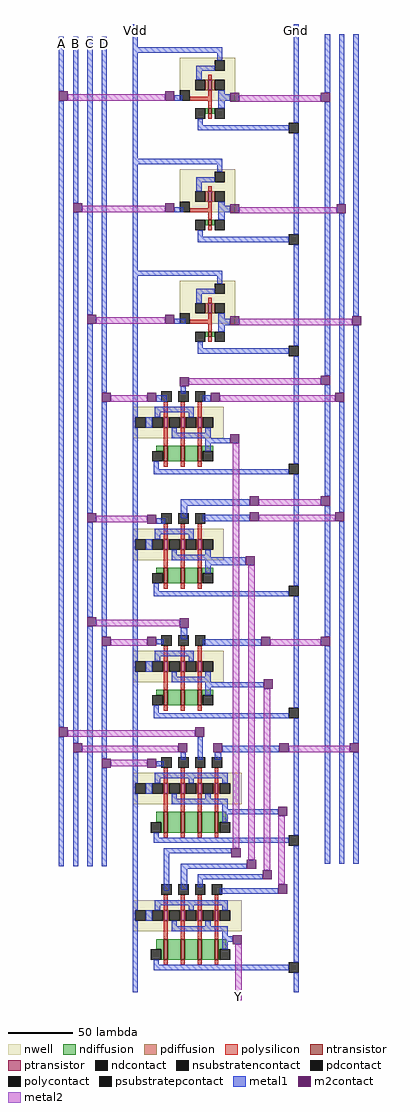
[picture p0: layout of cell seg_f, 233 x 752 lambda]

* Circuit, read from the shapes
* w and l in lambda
.subckt seg_f A B C D Gnd Vdd Y
M1 n1 n2 Gnd Gnd nfet w=16 l=3
M2 n3 D Gnd Gnd nfet w=16 l=3
M3 n4 D Gnd Gnd nfet w=12 l=3
M4 n5 C Gnd Gnd nfet w=12 l=3
M5 n6 D Gnd Gnd nfet w=12 l=3
M6 n7 n8 n1 Gnd nfet w=16 l=3
M7 n9 B n3 Gnd nfet w=16 l=3
M8 n10 C n4 Gnd nfet w=12 l=3
M9 n11 n12 n5 Gnd nfet w=12 l=3
M10 n13 n12 n6 Gnd nfet w=12 l=3
M11 n14 n15 n7 Gnd nfet w=16 l=3
M12 n16 A n9 Gnd nfet w=16 l=3
M13 n15 n12 n10 Gnd nfet w=12 l=3
M14 n8 n17 n11 Gnd nfet w=12 l=3
M15 n2 n17 n13 Gnd nfet w=12 l=3
M16 n18 C Gnd Gnd nfet w=4 l=3
M17 n17 B Gnd Gnd nfet w=4 l=3
M18 n12 A Gnd Gnd nfet w=4 l=3
M19 Y n19 n14 Gnd nfet w=16 l=3
M20 n19 n18 n16 Gnd nfet w=16 l=3
M21 Y n2 Vdd Vdd pfet w=8 l=3
M22 n19 D Vdd Vdd pfet w=8 l=3
M23 n15 D Vdd Vdd pfet w=8 l=3
M24 n8 C Vdd Vdd pfet w=8 l=3
M25 n2 D Vdd Vdd pfet w=8 l=3
M26 Vdd n8 Y Vdd pfet w=8 l=3
M27 Vdd B n19 Vdd pfet w=8 l=3
M28 Vdd C n15 Vdd pfet w=8 l=3
M29 Vdd n12 n8 Vdd pfet w=8 l=3
M30 Vdd n12 n2 Vdd pfet w=8 l=3
M31 Y n15 Vdd Vdd pfet w=8 l=3
M32 n19 A Vdd Vdd pfet w=8 l=3
M33 n15 n12 Vdd Vdd pfet w=8 l=3
M34 n8 n17 Vdd Vdd pfet w=8 l=3
M35 n2 n17 Vdd Vdd pfet w=8 l=3
M36 n18 C Vdd Vdd pfet w=8 l=3
M37 n17 B Vdd Vdd pfet w=8 l=3
M38 n12 A Vdd Vdd pfet w=8 l=3
M39 Vdd n19 Y Vdd pfet w=8 l=3
M40 Vdd n18 n19 Vdd pfet w=8 l=3
.ends

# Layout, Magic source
magic
tech tsmc
<< metal1 >>
rect 0 87 4 97
rect 124 87 128 97
rect -57 45 -53 87
rect -57 -445 -53 38
rect -46 -41 -42 87
rect -57 -552 -53 -452
rect -46 -457 -42 -48
rect -35 -127 -31 87
rect -35 -280 -31 -134
rect -24 -187 -20 87
rect 148 44 152 89
rect 32 38 38 42
rect 70 38 75 43
rect 32 -48 39 -44
rect 69 -48 75 -43
rect 32 -134 41 -130
rect 68 -135 75 -130
rect 148 -174 152 37
rect 159 -42 163 89
rect 37 -188 41 -182
rect 18 -194 26 -189
rect 54 -194 60 -189
rect -35 -360 -31 -287
rect -46 -552 -42 -464
rect -35 -552 -31 -367
rect -24 -375 -20 -194
rect 56 -226 75 -222
rect 148 -267 152 -181
rect 159 -187 163 -49
rect 170 -128 174 89
rect 37 -274 90 -269
rect 37 -284 42 -274
rect 18 -288 25 -284
rect 54 -286 90 -281
rect 59 -320 87 -314
rect 37 -377 42 -368
rect 148 -375 152 -274
rect 159 -279 163 -194
rect 18 -381 24 -377
rect 54 -382 99 -377
rect -24 -469 -20 -382
rect 59 -414 101 -410
rect 37 -470 41 -464
rect 50 -470 54 -452
rect 69 -464 113 -459
rect 63 -470 68 -464
rect 18 -475 24 -471
rect -24 -552 -20 -476
rect 69 -512 112 -508
rect 24 -542 76 -538
rect 24 -571 28 -542
rect 37 -554 88 -550
rect 148 -550 152 -382
rect 159 -550 163 -286
rect 170 -457 174 -135
rect 170 -550 174 -464
rect 37 -570 42 -554
rect 50 -562 100 -558
rect 50 -568 54 -562
rect 67 -573 112 -569
rect 71 -610 77 -606
<< m2contact >>
rect -57 38 -50 45
rect -46 -48 -39 -41
rect -57 -452 -50 -445
rect -35 -134 -28 -127
rect 25 38 32 45
rect 75 37 82 44
rect 145 37 152 44
rect 25 -48 32 -41
rect 75 -49 82 -42
rect 25 -134 32 -127
rect 75 -135 82 -128
rect 157 -49 164 -42
rect 36 -182 43 -175
rect 145 -181 152 -174
rect -24 -194 -17 -187
rect 11 -194 18 -187
rect 60 -194 67 -187
rect -35 -287 -28 -280
rect -35 -367 -28 -360
rect -46 -464 -39 -457
rect 75 -226 82 -219
rect 169 -135 176 -128
rect 156 -194 163 -187
rect 90 -274 97 -267
rect 145 -274 152 -267
rect 11 -288 18 -281
rect 90 -286 97 -279
rect 87 -320 94 -313
rect 36 -368 43 -361
rect -24 -382 -17 -375
rect 11 -382 18 -375
rect 156 -286 163 -279
rect 99 -382 106 -375
rect 145 -382 152 -375
rect 101 -415 108 -408
rect 48 -452 55 -445
rect 35 -464 42 -457
rect -24 -476 -17 -469
rect 11 -476 18 -469
rect 62 -464 69 -457
rect 113 -464 120 -457
rect 112 -513 119 -506
rect 76 -545 83 -538
rect 88 -554 95 -547
rect 167 -464 174 -457
rect 100 -562 107 -555
rect 112 -573 119 -566
rect 77 -612 84 -605
<< metal2 >>
rect -50 38 25 43
rect 82 37 145 42
rect -39 -48 25 -43
rect 82 -49 157 -44
rect -28 -134 25 -129
rect 82 -135 169 -130
rect 43 -181 145 -176
rect -17 -194 11 -189
rect 67 -194 156 -189
rect -28 -287 11 -282
rect -28 -367 36 -362
rect -17 -382 11 -377
rect -50 -452 48 -447
rect -39 -464 35 -459
rect -17 -475 11 -470
rect 77 -538 82 -226
rect 97 -274 145 -269
rect 97 -286 156 -281
rect 89 -547 94 -320
rect 106 -382 145 -377
rect 101 -555 106 -415
rect 120 -464 167 -459
rect 112 -566 117 -513
rect 79 -655 84 -612
use 1INV  1INV_0
transform 1 0 49 0 1 21
box -49 -20 79 66
use 1INV  1INV_1
transform 1 0 49 0 1 -65
box -49 -20 79 66
use 1INV  1INV_2
transform 1 0 49 0 1 -151
box -49 -20 79 66
use 3NAND  3NAND_0
transform 1 0 18 0 1 -214
box -18 -51 110 43
use 3NAND  3NAND_1
transform 1 0 18 0 1 -308
box -18 -51 110 43
use 3NAND  3NAND_2
transform 1 0 18 0 1 -402
box -18 -51 110 43
use 4NAND  4NAND_0
transform 1 0 18 0 1 -496
box -18 -55 110 43
use 4NAND  4NAND_1
transform 1 0 18 0 1 -594
box -18 -55 110 43
<< labels >>
rlabel metal1 -24 77 -20 87 1 D
rlabel metal1 -35 77 -31 87 1 C
rlabel metal1 -46 77 -42 87 1 B
rlabel metal1 -57 77 -53 87 3 A
rlabel metal1 0 87 4 97 5 Vdd
rlabel metal1 124 87 128 97 5 Gnd
rlabel metal2 79 -655 84 -650 1 Y
<< end >>

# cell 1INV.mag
magic
tech tsmc
<< nwell >>
rect -13 17 30 50
<< ntransistor >>
rect 9 7 12 11
<< ptransistor >>
rect 9 25 12 33
<< ndiffusion >>
rect 7 7 9 11
rect 12 7 14 11
<< pdiffusion >>
rect 7 25 9 33
rect 12 25 14 33
<< ndcontact >>
rect -1 3 7 11
rect 14 3 22 11
<< pdcontact >>
rect -1 25 7 33
rect 14 25 22 33
<< psubstratepcontact >>
rect 71 -8 79 0
<< nsubstratencontact >>
rect 14 40 22 48
<< polysilicon >>
rect 9 33 12 37
rect 9 20 12 25
rect -5 17 12 20
rect 9 11 12 17
rect 9 3 12 7
<< polycontact >>
rect -13 17 -5 25
<< metal1 >>
rect -49 58 -45 66
rect -49 54 20 58
rect -49 -20 -45 54
rect 16 48 20 54
rect 0 40 14 44
rect 0 33 4 40
rect 17 11 22 25
rect 1 -2 5 3
rect 75 0 79 66
rect 1 -6 71 -2
rect 75 -20 79 -8
<< end >>

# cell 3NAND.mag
magic
tech tsmc
<< nwell >>
rect -18 -8 52 16
<< ntransistor >>
rect 6 -26 9 -14
rect 19 -26 22 -14
rect 32 -26 35 -14
<< ptransistor >>
rect 6 0 9 8
rect 19 0 22 8
rect 32 0 35 8
<< ndiffusion >>
rect 0 -18 6 -14
rect 5 -26 6 -18
rect 9 -26 19 -14
rect 22 -26 32 -14
rect 35 -18 44 -14
rect 35 -26 36 -18
<< pdiffusion >>
rect 5 0 6 8
rect 9 0 10 8
rect 18 0 19 8
rect 22 0 23 8
rect 31 0 32 8
rect 35 0 36 8
<< ndcontact >>
rect -3 -26 5 -18
rect 36 -26 44 -18
<< pdcontact >>
rect -3 0 5 8
rect 10 0 18 8
rect 23 0 31 8
rect 36 0 44 8
<< psubstratepcontact >>
rect 102 -36 110 -28
<< nsubstratencontact >>
rect -16 0 -8 8
<< polysilicon >>
rect 6 8 9 20
rect 19 8 22 20
rect 32 8 35 20
rect 6 -14 9 0
rect 19 -14 22 0
rect 32 -14 35 0
rect 6 -30 9 -26
rect 19 -30 22 -26
rect 32 -30 35 -26
<< polycontact >>
rect 4 20 12 28
rect 17 20 25 28
rect 30 20 38 28
<< metal1 >>
rect -18 8 -14 43
rect -1 12 29 16
rect -1 8 3 12
rect 25 8 29 12
rect -18 0 -16 8
rect -8 0 -3 8
rect -18 -51 -14 0
rect 12 -4 16 0
rect 38 -4 42 0
rect 12 -8 42 -4
rect 38 -18 42 -8
rect -2 -32 2 -26
rect 106 -28 110 43
rect -2 -36 102 -32
rect 106 -51 110 -36
<< end >>

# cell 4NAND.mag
magic
tech tsmc
<< nwell >>
rect -18 -8 66 16
<< ntransistor >>
rect 6 -30 9 -14
rect 19 -30 22 -14
rect 32 -30 35 -14
rect 45 -30 48 -14
<< ptransistor >>
rect 6 0 9 8
rect 19 0 22 8
rect 32 0 35 8
rect 45 0 48 8
<< ndiffusion >>
rect 0 -22 6 -14
rect 4 -30 6 -22
rect 9 -30 19 -14
rect 22 -30 32 -14
rect 35 -30 45 -14
rect 48 -22 54 -14
rect 48 -30 49 -22
<< pdiffusion >>
rect 5 0 6 8
rect 9 0 10 8
rect 18 0 19 8
rect 22 0 23 8
rect 31 0 32 8
rect 35 0 36 8
rect 44 0 45 8
rect 48 0 49 8
<< ndcontact >>
rect -4 -30 4 -22
rect 49 -30 57 -22
<< pdcontact >>
rect -3 0 5 8
rect 10 0 18 8
rect 23 0 31 8
rect 36 0 44 8
rect 49 0 57 8
<< psubstratepcontact >>
rect 102 -40 110 -32
<< nsubstratencontact >>
rect -16 0 -8 8
<< polysilicon >>
rect 6 8 9 20
rect 19 8 22 20
rect 32 8 35 20
rect 45 8 48 20
rect 6 -14 9 0
rect 19 -14 22 0
rect 32 -14 35 0
rect 45 -14 48 0
rect 6 -34 9 -30
rect 19 -34 22 -30
rect 32 -34 35 -30
rect 45 -34 48 -30
<< polycontact >>
rect 4 20 12 28
rect 17 20 25 28
rect 30 20 38 28
rect 43 20 51 28
<< metal1 >>
rect -18 8 -14 43
rect -1 12 55 16
rect -1 8 3 12
rect 25 8 29 12
rect 51 8 55 12
rect -18 0 -16 8
rect -8 0 -3 8
rect -18 -55 -14 0
rect 12 -4 16 0
rect 38 -4 42 0
rect 12 -8 55 -4
rect 51 -22 55 -8
rect -2 -34 2 -30
rect 106 -32 110 43
rect -2 -38 102 -34
rect 106 -55 110 -40
<< end >>
